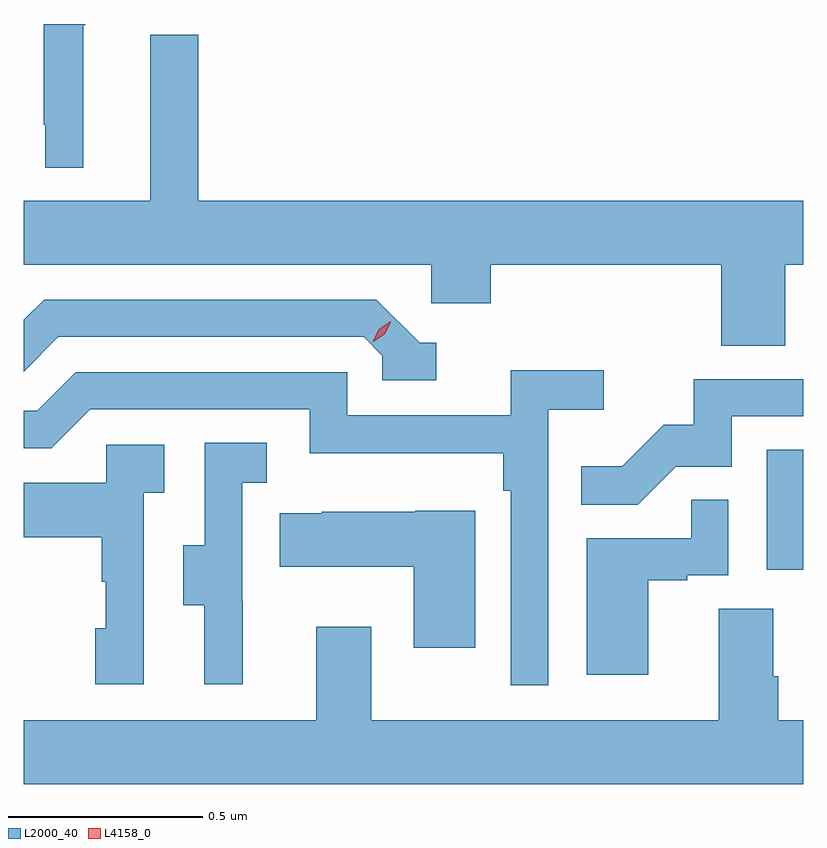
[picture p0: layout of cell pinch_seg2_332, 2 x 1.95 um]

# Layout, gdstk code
import gdstk
lib = gdstk.Library(unit=1e-6, precision=1e-09)
def R(c, l, rs):  # rectangles x0, y0, x1, y1
    for r in rs: c.add(gdstk.rectangle(r[:2], r[2:], *l))
def P(c, l, *ps):  # polygons
    for p in ps: c.add(gdstk.Polygon(p, *l))
L2000_40 = (2000, 40)
L4158_0 = (4158, 0)

pinch_seg2_332 = lib.new_cell('pinch_seg2_332')
R(pinch_seg2_332, L2000_40, [(943.25,633.534,943.344,633.841)])
P(pinch_seg2_332, L2000_40, [(941.497,634.928),(941.503,634.934),(941.395,634.934),(941.395,634.675),(941.399,634.675),(941.399,634.565),(941.497,634.565)],
  [(943.298,634.316),(943.344,634.316),(943.344,634.48),(941.792,634.48),(941.792,634.906),(941.669,634.906),(941.669,634.48),(941.344,634.48),(941.344,634.316),(942.39,634.316),(942.39,634.218),(942.542,634.218),(942.542,634.316),(943.133,634.316),(943.133,634.108),(943.298,634.108)],
  [(942.403,634.116),(942.36,634.116),(942.249,634.227),(941.396,634.227),(941.344,634.175),(941.344,634.042),(941.433,634.131),(942.216,634.131),(942.264,634.083),(942.264,634.02),(942.403,634.02)],
  [(942.69,633.944),(942.832,633.944),(942.832,634.046),(942.593,634.046),(942.593,633.93),(942.174,633.93),(942.174,634.041),(941.477,634.041),(941.378,633.942),(941.344,633.942),(941.344,633.846),(941.415,633.846),(941.514,633.945),(942.078,633.945),(942.078,633.833),(942.574,633.833),(942.574,633.737),(942.594,633.737),(942.594,633.237),(942.69,633.237)],
  [(943.017,633.798),(943.161,633.798),(943.161,633.927),(943.344,633.927),(943.344,634.023),(943.063,634.023),(943.063,633.906),(942.986,633.906),(942.879,633.799),(942.775,633.799),(942.775,633.7),(942.919,633.7)],
  [(941.906,633.453),(941.904,633.453),(941.904,633.757),(941.968,633.757),(941.968,633.86),(941.808,633.86),(941.808,633.597),(941.753,633.597),(941.753,633.442),(941.807,633.442),(941.807,633.24),(941.906,633.24)],
  [(941.652,633.731),(941.704,633.731),(941.704,633.855),(941.556,633.855),(941.556,633.757),(941.344,633.757),(941.344,633.617),(941.544,633.617),(941.544,633.503),(941.554,633.503),(941.554,633.384),(941.528,633.384),(941.528,633.24),(941.652,633.24)],
  [(942.946,633.507),(943.046,633.507),(943.046,633.519),(943.152,633.519),(943.152,633.713),(943.057,633.713),(943.057,633.615),(942.788,633.615),(942.788,633.264),(942.946,633.264)],
  [(942.502,633.685),(942.348,633.685),(942.348,633.682),(942.109,633.682),(942.109,633.679),(942.001,633.679),(942.001,633.542),(942.344,633.542),(942.344,633.333),(942.502,633.333)],
  [(943.344,633.148),(943.28,633.148),(943.28,633.26),(943.267,633.26),(943.267,633.434),(943.127,633.434),(943.127,633.148),(942.235,633.148),(942.235,633.388),(942.095,633.388),(942.095,633.148),(941.344,633.148),(941.344,632.984),(943.344,632.984)])
P(pinch_seg2_332, L4158_0, [(942.239,634.118),(942.239,634.118),(942.255,634.151),(942.285,634.171),(942.286,634.171),(942.286,634.17),(942.27,634.138),(942.239,634.118)])

lib.write_gds('pinch_seg2_332.gds')
